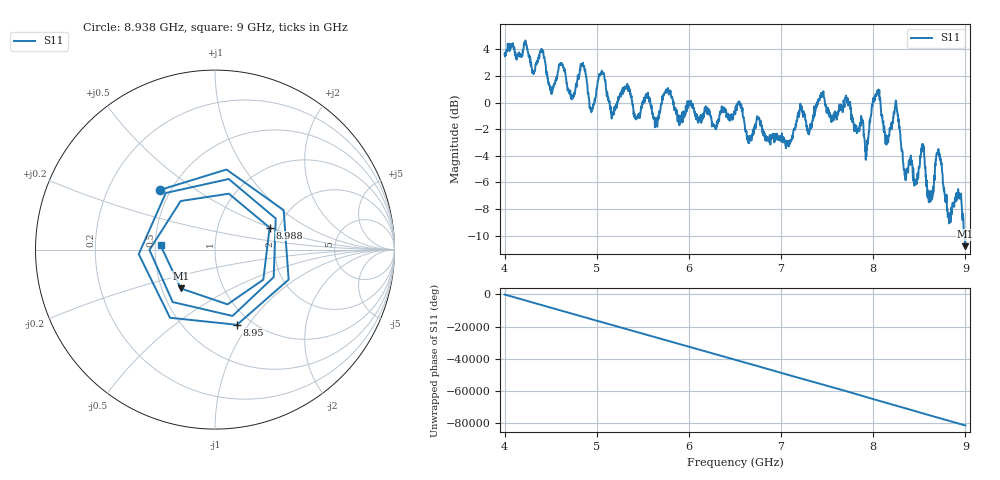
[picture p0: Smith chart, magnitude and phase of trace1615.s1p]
! Created with skrf 1.8.0 (http://scikit-rf.org).
# Hz S RI R 50.0
!freq ReS11 ImS11
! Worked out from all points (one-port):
!   1601 points, 4 GHz to 9 GHz, reference 50 ohm
!   lowest |S11| = -10.8 dB at 8.997 GHz (marker M1), VSWR 1.81, Z = 31.3 - j14.8 ohm
!   |S11| at or under -10 dB: 8.991602 GHz to end of sweep
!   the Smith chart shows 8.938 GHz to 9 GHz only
!   S11 on the Smith chart (normalised r, x): 8.938 GHz: 0.44, +0.37; 8.95 GHz: 0.86, -0.89; 8.988 GHz: 1.79, +0.49; 9 GHz: 0.53, +0.03
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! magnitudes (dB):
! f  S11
! 4 GHz  3.7
! 4.406 GHz  4.0
! 4.506 GHz  0.8
! 4.625 GHz  2.9
! 4.741 GHz  0.3
! 4.85 GHz  3.0
! 4.947 GHz  -0.6
! 5.05 GHz  2.3
! 5.25 GHz  0.5
! 5.875 GHz  -1.1
! 6.5 GHz  -0.6
! 7.125 GHz  -2.7
! 7.444 GHz  0.4
! 7.75 GHz  0.0
! 7.922 GHz  -3.4
! 8.034 GHz  0.5
! 8.147 GHz  -3.1
! 8.247 GHz  0.1
! 8.375 GHz  -5.1
! 8.534 GHz  -3.3
! 8.619 GHz  -7.1
! 8.709 GHz  -3.5
! 8.825 GHz  -9.0
! 8.938 GHz  -6.9
! 8.95 GHz  -7.2
! 8.988 GHz  -9.7
! 8.997 GHz  -10.8
! 9 GHz  -10.3
